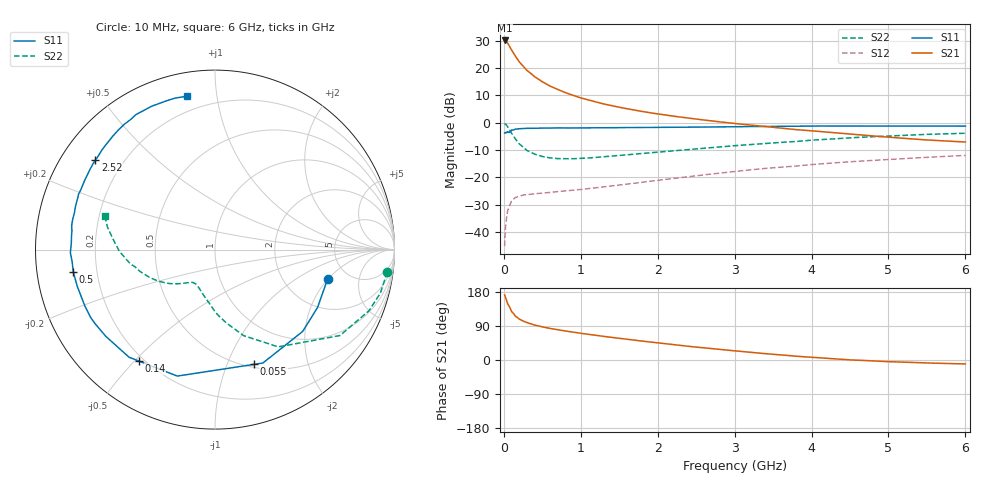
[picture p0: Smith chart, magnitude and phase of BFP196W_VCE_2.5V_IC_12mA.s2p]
! Infineon Technologies  Discrete & RF Semiconductors
! BFP196W
! VCE = 2.5 V,  IC =  12mA
! Common Emitter S-Parameters:  Jan 2016
# GHz  S  MA  R  50
!  f  S11  S21  S12  S22
! GHz  MAG  ANG  MAG  ANG  MAG  ANG  MAG  ANG
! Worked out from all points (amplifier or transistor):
!   210 points, 10 MHz to 6 GHz, reference 50 ohm
!   highest |S21| = 30.1 dB at 10 MHz (marker M1)
!   |S21| within 3 dB of that: start of sweep to 90.06 MHz
!   unconditionally stable (mu >= 1): 1.113 GHz to 3.303 GHz
!   at 185 MHz: K = 0.24, MSG = 25.0 dB, |S12| = -27.0 dB
!   at 1.52 GHz: K = 1.14, MAG = 11.9 dB, |S12| = -22.8 dB
!   at 6 GHz: K = 0.94, MSG = 2.4 dB, |S12| = -12.0 dB
!   S11 on the Smith chart (normalised r, x): 10 MHz: 3.48, -1.99; 55 MHz: 0.53, -1.25; 140 MHz: 0.18, -0.51; 500 MHz: 0.11, -0.08; 2.52 GHz: 0.10, +0.33; 6 GHz: 0.12, +0.83
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0.01  0.6483 -14.8  32.09 171.6  0.0055 82.8  0.968 -7.4
0.02  0.656 -29.4  32.08 166.5  0.0113 77.6  0.9527 -14.8
0.03  0.6683 -43.0  31.2 160.2  0.016 72.6  0.9229 -21.7
0.05  0.6859 -67.1  28.63 148.4  0.0246 61.5  0.845 -34.5
0.055  0.6757 -71.1  27.8 146.9  0.0257 59.0  0.8206 -36.2
0.1  0.7353 -106.6  21.58 128.2  0.0369 43.8  0.6462 -57.0
0.14  0.7522 -124.4  17.47 118.8  0.0415 36.4  0.5302 -68.1
0.15  0.7673 -128.6  16.54 115.7  0.0427 34.8  0.5052 -71.6
0.2  0.7769 -141.5  13.05 108.0  0.0453 30.4  0.412 -81.4
0.26  0.7891 -151.4  10.44 101.9  0.0476 27.4  0.3475 -89.8
0.3  0.7902 -156.4  9.083 98.4  0.0482 26.2  0.3116 -94.3
0.4  0.7942 -165.0  6.953 92.1  0.0501 25.6  0.2663 -103.1
0.5  0.7994 -171.0  5.619 87.2  0.0514 26.5  0.2411 -109.5
0.7  0.806 -178.8  4.065 79.8  0.0548 29.3  0.2207 -117.6
1.02  0.8048 172.2  2.799 70.0  0.0604 34.7  0.2232 -125.2
1.4  0.8123 163.8  2.055 59.6  0.0696 40.6  0.2443 -130.6
2.02  0.8222 152.0  1.436 44.8  0.0889 46.8  0.2911 -139.0
2.52  0.8317 143.2  1.158 33.7  0.1079 48.6  0.3349 -146.6
3.1  0.8471 133.6  0.938 22.4  0.1325 47.9  0.3891 -155.9
4.1  0.8709 119.1  0.693 5.9  0.1758 43.0  0.489 -172.4
5.1  0.872 108.0  0.531 -5.1  0.2166 35.7  0.5794 172.8
6  0.8685 100.3  0.443 -10.4  0.2523 29.3  0.6416 163.0
